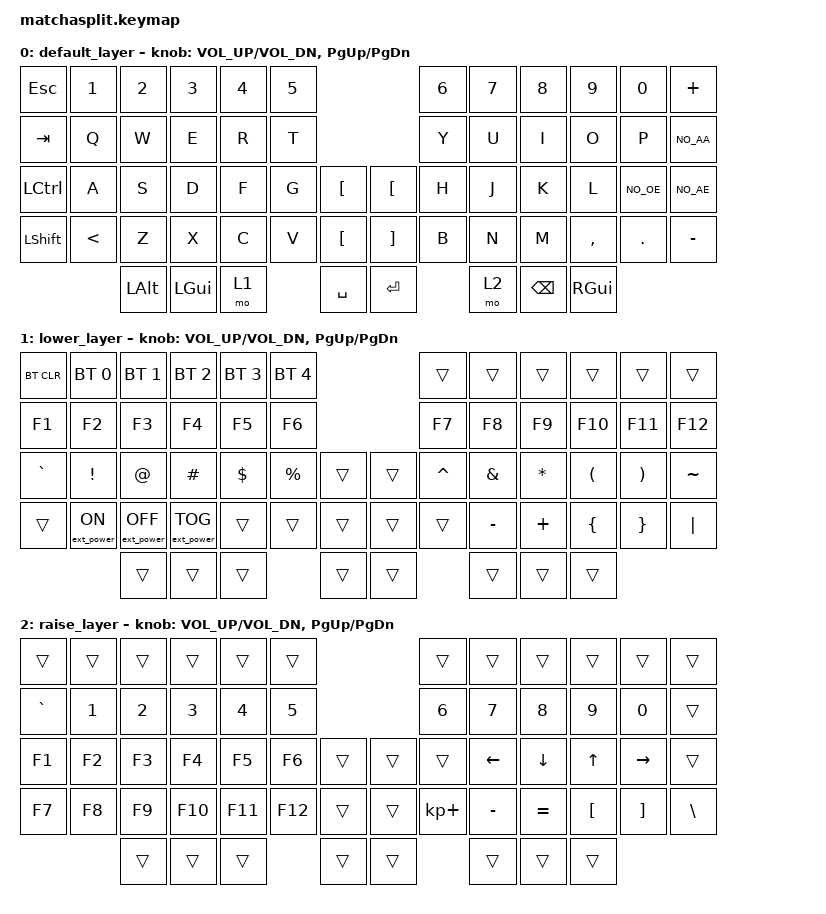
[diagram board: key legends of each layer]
/*
 * Copyright (c) 2020 The ZMK Contributors
 *
 * SPDX-License-Identifier: MIT
 */

#include <behaviors.dtsi>
#include <dt-bindings/zmk/keys.h>
#include <dt-bindings/zmk/bt.h>
#include <dt-bindings/zmk/ext_power.h>
#include <dt-bindings/zmk/outputs.h>
#include "keys_no.h"

/ {
    keymap {
        compatible = "zmk,keymap";

        default_layer {
// ------------------------------------------------------------------------------------------------------------
// |  ESC  |  1  |  2  |  3   |  4   |  5   |                   |  6   |  7    |  8    |  9   |   0   |   +   |
// |  TAB  |  Q  |  W  |  E   |  R   |  T   |                   |  Y   |  U    |  I    |  O   |   P   |   Å   |
// | SHIFT |  A  |  S  |  D   |  F   |  G   |   "["  |  |  "]"  |  H   |  J    |  K    |  L   |   Ø   |   Æ   |
// | CTRL  |  <  |  X  |  C   |  V   |  B   |   "["  |  |  "]"  |  N   |  M    |  ,    |  .   |   /   |   -   |
//                     | ALT  | GUI  | LOWER|  SPACE |  | ENTER | RAISE| BSPC  | GUI   |
            bindings = <
&kp ESC   &kp N1 &kp N2   &kp N3   &kp N4   &kp N5                     &kp N6 &kp N7   &kp N8    &kp N9    &kp N0   &kp PLUS
&kp TAB   &kp Q  &kp W    &kp E    &kp R    &kp T                      &kp Y  &kp U    &kp I     &kp O     &kp P    &kp NO_AA
&kp LCTRL &kp A  &kp S    &kp D    &kp F    &kp G  &kp LBKT   &kp LBKT &kp H  &kp J    &kp K     &kp L     &kp NO_OE &kp NO_AE
&kp LSHFT &kp LT &kp Z    &kp X    &kp C    &kp V  &kp LBKT   &kp RBKT &kp B  &kp N    &kp M     &kp COMMA &kp DOT  &kp MINUS
                 &kp LALT &kp LGUI &mo 1           &kp SPACE  &kp RET         &mo 2    &kp BSPC  &kp RGUI
            >;

            sensor-bindings = <&inc_dec_kp C_VOL_UP C_VOL_DN &inc_dec_kp PG_UP PG_DN>;
        };

        lower_layer {
// ------------------------------------------------------------------------------------------------------------
// | BTCLR | BT1 | BT2 |  BT3 |  BT4 |  BT5 |                   |      |       |       |      |       |       |
// |  F1   |  F2 |  F3 |  F4  |  F5  |  F6  |                   |  F7  |  F8   |  F9   |  F10 |  F11  |  F12  |
// |   `   |  !  |  @  |  #   |  $   |  %   |                   |  ^   |  &    |  *    |  (   |   )   |   ~   |
// |       |     |     |      |      |      |        |  |       |      |  _    |  +    |  {   |   }   |  "|"  |
//                     |      |      |      |        |  |       |      |       |       |
            bindings = <
&bt BT_CLR &bt BT_SEL 0     &bt BT_SEL 1      &bt BT_SEL 2      &bt BT_SEL 3 &bt BT_SEL 4                 &trans    &trans    &trans    &trans    &trans    &trans
&kp F1     &kp F2           &kp F3            &kp F4            &kp F5       &kp F6                       &kp F7    &kp F8    &kp F9    &kp F10   &kp F11   &kp F12
&kp GRAVE  &kp EXCL         &kp AT            &kp HASH          &kp DOLLAR   &kp PRCNT &trans   &trans    &kp CARET &kp AMPS  &kp ASTRK &kp LPAR  &kp RPAR  &kp TILDE
&trans     &ext_power EP_ON &ext_power EP_OFF &ext_power EP_TOG &trans       &trans    &trans   &trans    &trans    &kp MINUS &kp PLUS  &kp LBRC  &kp RBRC  &kp PIPE
                                              &trans            &trans       &trans    &trans   &trans    &trans    &trans    &trans
            >;

            sensor-bindings = <&inc_dec_kp C_VOL_UP C_VOL_DN &inc_dec_kp PG_UP PG_DN>;
        };

        raise_layer {
// ------------------------------------------------------------------------------------------------------------
// |       |     |     |      |      |      |                   |      |       |       |      |       |       |
// |   `   |  1  |  2  |  3   |  4   |  5   |                   |  6   |   7   |   8   |  9   |   0   |       |
// |   F1  |  F2 |  F3 |  F4  |  F5  |  F6  |                   |      |   <-  |   v   |  ^   |  ->   |       |
// |   F7  |  F8 |  F9 |  F10 |  F11 |  F12 |        |  |       |  +   |   -   |   =   |  [   |   ]   |   \   |
//                     |      |      |      |        |  |       |      |       |       |
            bindings = <
&trans    &trans &trans &trans  &trans  &trans                       &trans      &trans    &trans    &trans   &trans    &trans
&kp GRAVE &kp N1 &kp N2 &kp N3  &kp N4  &kp N5                       &kp N6      &kp N7    &kp N8    &kp N9   &kp N0    &trans
&kp F1    &kp F2 &kp F3 &kp F4  &kp F5  &kp F6    &trans   &trans    &trans      &kp LEFT  &kp DOWN  &kp UP   &kp RIGHT &trans
&kp F7    &kp F8 &kp F9 &kp F10 &kp F11 &kp F12   &trans   &trans    &kp KP_PLUS &kp MINUS &kp EQUAL &kp LBKT &kp RBKT  &kp BSLH
                        &trans  &trans  &trans    &trans   &trans    &trans      &trans    &trans
            >;

            sensor-bindings = <&inc_dec_kp C_VOL_UP C_VOL_DN &inc_dec_kp PG_UP PG_DN>;
        };
    };
};

